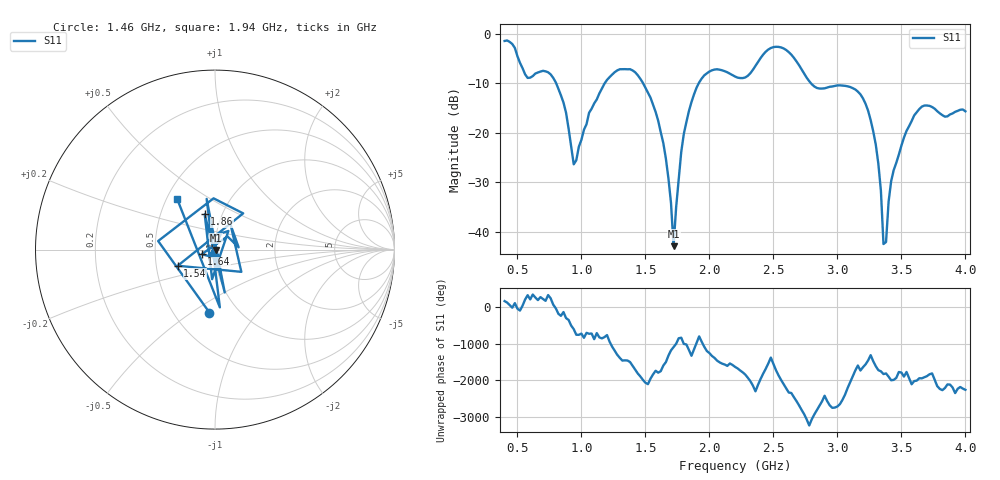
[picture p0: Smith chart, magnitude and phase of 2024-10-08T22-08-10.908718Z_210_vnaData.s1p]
! Created with skrf (http://scikit-rf.org).
# Hz S RI R 50.0
!freq ReS11 ImS11
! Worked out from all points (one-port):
!   181 points, 400 MHz to 4 GHz, reference 50 ohm
!   lowest |S11| = -42.9 dB at 1.72 GHz (marker M1), VSWR 1.01, Z = 50.7 - j0.228 ohm
!   |S11| at or under -10 dB: 802.9 MHz to 1.182 GHz (379.1 MHz wide, 38.2 % of centre); 1.482 GHz to 1.917 GHz (434.3 MHz wide, 25.6 % of centre); 2.794 GHz to end of sweep
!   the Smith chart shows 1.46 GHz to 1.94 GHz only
!   S11 on the Smith chart (normalised r, x): 1.46 GHz: 0.74, -0.59; 1.54 GHz: 0.65, -0.12; 1.64 GHz: 0.86, -0.04; 1.86 GHz: 0.83, +0.34; 1.94 GHz: 0.57, +0.37
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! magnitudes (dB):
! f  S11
! 400 MHz  -1.4
! 580 MHz  -8.9
! 760 MHz  -8.2
! 860 MHz  -13.9
! 940 MHz  -26.4
! 1.06 GHz  -16.0
! 1.3 GHz  -7.2
! 1.46 GHz  -9.1
! 1.54 GHz  -12.9
! 1.64 GHz  -22.1
! 1.7 GHz  -34.2
! 1.72 GHz  -42.9
! 1.76 GHz  -29.4
! 1.86 GHz  -13.8
! 1.94 GHz  -9.0
! 2.2 GHz  -8.6
! 2.5 GHz  -2.7
! 2.66 GHz  -4.8
! 2.84 GHz  -10.9
! 3.1 GHz  -10.7
! 3.28 GHz  -19.7
! 3.34 GHz  -31.8
! 3.36 GHz  -42.5
! 3.38 GHz  -42.1
! 3.42 GHz  -29.8
! 3.56 GHz  -18.7
! 3.68 GHz  -14.5
! 4 GHz  -15.7
